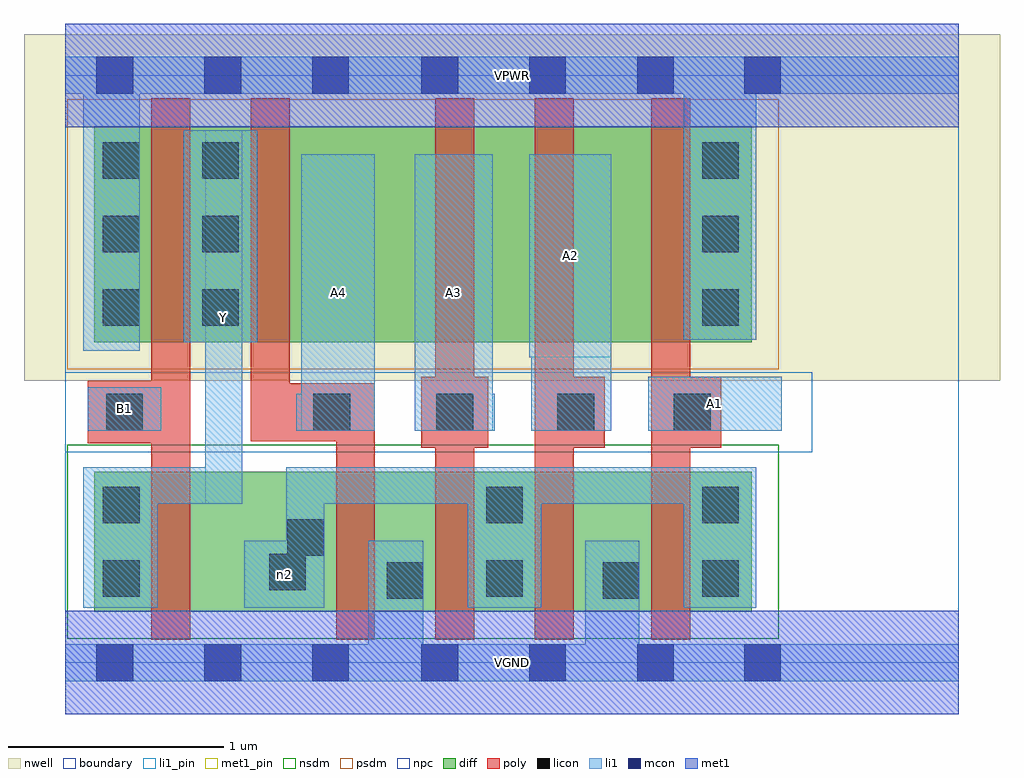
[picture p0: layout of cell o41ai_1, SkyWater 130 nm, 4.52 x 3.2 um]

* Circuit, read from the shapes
.subckt o41ai_1 A1 A2 A3 A4 B1 VGND VPWR Y n2
XM1 n2 B1 Y VSUBS sky130_fd_pr__nfet_01v8 w=0.65 l=0.18
XM2 VGND A4 n2 VSUBS sky130_fd_pr__nfet_01v8 w=0.65 l=0.18
XM3 n2 A3 VGND VSUBS sky130_fd_pr__nfet_01v8 w=0.65 l=0.18
XM4 VGND A2 n2 VSUBS sky130_fd_pr__nfet_01v8 w=0.65 l=0.18
XM5 n2 A1 VGND VSUBS sky130_fd_pr__nfet_01v8 w=0.65 l=0.18
XM6 Y B1 VPWR n1 sky130_fd_pr__pfet_01v8 w=1 l=0.18
XM7 n3 A4 Y n1 sky130_fd_pr__pfet_01v8 w=1 l=0.18
XM8 n4 A3 n3 n1 sky130_fd_pr__pfet_01v8 w=1 l=0.18
XM9 n5 A2 n4 n1 sky130_fd_pr__pfet_01v8 w=1 l=0.18
XM10 VPWR A1 n5 n1 sky130_fd_pr__pfet_01v8 w=1 l=0.18
.ends

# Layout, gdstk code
import gdstk
lib = gdstk.Library(unit=1e-6, precision=1e-09)
def R(c, l, rs):  # rectangles x0, y0, x1, y1
    for r in rs: c.add(gdstk.rectangle(r[:2], r[2:], *l))
def A(c, l, x, y, w, h, nx, ny, dx, dy):  # array of equal rectangles
    R(c, l, [(x+i*dx, y+j*dy, x+i*dx+w, y+j*dy+h) for i in range(nx) for j in range(ny)])
nwell = (64, 20)
diff = (65, 20)
poly = (66, 20)
licon = (66, 44)
li1_pin = (67, 16)
li1 = (67, 20)
mcon = (67, 44)
met1_pin = (68, 16)
met1 = (68, 20)
nsdm = (93, 44)
psdm = (94, 20)
npc = (95, 20)
boundary = (235, 4)

o41ai_1 = lib.new_cell('o41ai_1')
R(o41ai_1, nwell, [(-0.19,1.305,4.33,2.91), (0,1.305,4.14,2.91)])
R(o41ai_1, diff, [(0.135,0.235,3.18,0.885), (0.135,1.485,3.18,2.485)])
R(o41ai_1, poly, [(0.4,0.105,0.58,2.615), (1.255,0.105,1.435,1.295), (1.715,0.105,1.895,2.615), (2.175,0.105,2.355,2.615), (2.715,0.105,2.895,2.615), (1.65,0.995,1.96,1.325), (2.175,0.995,2.5,1.325), (2.715,0.995,3.04,1.325), (0.105,1.015,0.58,1.305), (0.86,1.025,1.04,2.615), (0.86,1.025,1.435,1.295)])
A(o41ai_1, licon, 0.175, 1.56, 0.17, 0.17, 1, 3, 0, 0.34)
A(o41ai_1, licon, 0.635, 1.56, 0.17, 0.17, 1, 3, 0, 0.34)
A(o41ai_1, licon, 2.95, 1.56, 0.17, 0.17, 1, 3, 0, 0.34)
R(o41ai_1, licon, [(1.49,0.295,1.66,0.465), (2.49,0.295,2.66,0.465), (0.175,0.305,0.345,0.475), (1.95,0.305,2.12,0.475), (2.95,0.305,3.12,0.475), (0.945,0.335,1.115,0.505), (1.03,0.495,1.2,0.665), (0.175,0.645,0.345,0.815), (1.95,0.645,2.12,0.815), (2.95,0.645,3.12,0.815), (0.19,1.075,0.36,1.245), (1.15,1.075,1.32,1.245), (1.72,1.075,1.89,1.245), (2.28,1.075,2.45,1.245), (2.82,1.075,2.99,1.245)])
R(o41ai_1, li1_pin, [(0.65,0.735,0.82,2.465), (0.105,1.075,0.445,1.275), (1.095,1.075,1.435,2.355), (1.62,1.075,1.98,2.355), (2.7,1.075,3.32,1.325), (2.15,1.415,2.53,2.355)])
R(o41ai_1, li1, [(0,-0.085,4.14,0.085), (1.405,-0.085,1.66,0.565), (2.41,-0.085,2.66,0.565), (0.085,0.255,0.43,0.905), (0.83,0.255,1.2,0.565), (1.025,0.255,1.2,0.905), (1.865,0.255,2.205,0.905), (2.865,0.255,3.2,0.905), (0.085,0.735,0.82,0.905), (0.65,0.735,0.82,2.465), (1.025,0.735,3.2,0.905), (0.105,1.075,0.445,1.275), (1.07,1.075,1.435,1.245), (1.095,1.075,1.435,2.355), (1.62,1.075,1.98,2.355), (1.62,1.075,1.99,1.245), (2.16,1.075,2.53,2.355), (2.7,1.075,3.32,1.325), (2.15,1.415,2.53,2.355), (0.085,1.445,0.345,2.805), (0.55,1.485,0.89,2.465), (2.865,1.495,3.2,2.805), (0,2.635,4.14,2.805)])
A(o41ai_1, mcon, 0.145, -0.085, 0.17, 0.17, 3, 2, 0.5, 2.72)
A(o41ai_1, mcon, 1.65, -0.085, 0.17, 0.17, 3, 2, 0.5, 2.72)
R(o41ai_1, mcon, [(3.145,-0.085,3.315,0.085), (3.145,2.635,3.315,2.805)])
R(o41ai_1, met1_pin, [(0,-0.24,4.14,0.24), (0,2.48,4.14,2.96)])
R(o41ai_1, met1, [(0,-0.24,4.14,0.24), (0,2.48,4.14,2.96)])
R(o41ai_1, nsdm, [(0.01,0.11,3.305,1.01)])
R(o41ai_1, psdm, [(0.01,1.36,3.305,2.61)])
R(o41ai_1, npc, [(0,0.975,3.46,1.345)])
R(o41ai_1, boundary, [(0,0,4.14,2.72)])
o41ai_1.add(gdstk.Label('A1', (3.01,1.2), layer=67, texttype=5))
o41ai_1.add(gdstk.Label('A2', (2.34,1.885), layer=67, texttype=5))
o41ai_1.add(gdstk.Label('A3', (1.8,1.715), layer=67, texttype=5))
o41ai_1.add(gdstk.Label('A4', (1.265,1.715), layer=67, texttype=5))
o41ai_1.add(gdstk.Label('B1', (0.275,1.175), layer=67, texttype=5))
o41ai_1.add(gdstk.Label('Y', (0.735,1.6), layer=67, texttype=5))
o41ai_1.add(gdstk.Label('n2', (1.015,0.41), layer=67, texttype=5))
o41ai_1.add(gdstk.Label('VPWR', (2.07,2.72), layer=68, texttype=5))
o41ai_1.add(gdstk.Label('VGND', (2.07,0), layer=68, texttype=5))
o41ai_1.add(gdstk.Label('A1', (3.01,1.2), layer=67, texttype=16))
o41ai_1.add(gdstk.Label('A2', (2.34,1.885), layer=67, texttype=16))
o41ai_1.add(gdstk.Label('A3', (1.8,1.715), layer=67, texttype=16))
o41ai_1.add(gdstk.Label('A4', (1.265,1.715), layer=67, texttype=16))
o41ai_1.add(gdstk.Label('B1', (0.275,1.175), layer=67, texttype=16))
o41ai_1.add(gdstk.Label('Y', (0.735,1.6), layer=67, texttype=16))
o41ai_1.add(gdstk.Label('VPWR', (2.07,2.72), layer=68, texttype=16))
o41ai_1.add(gdstk.Label('VGND', (2.07,0), layer=68, texttype=16))

lib.write_gds('o41ai_1.gds')
